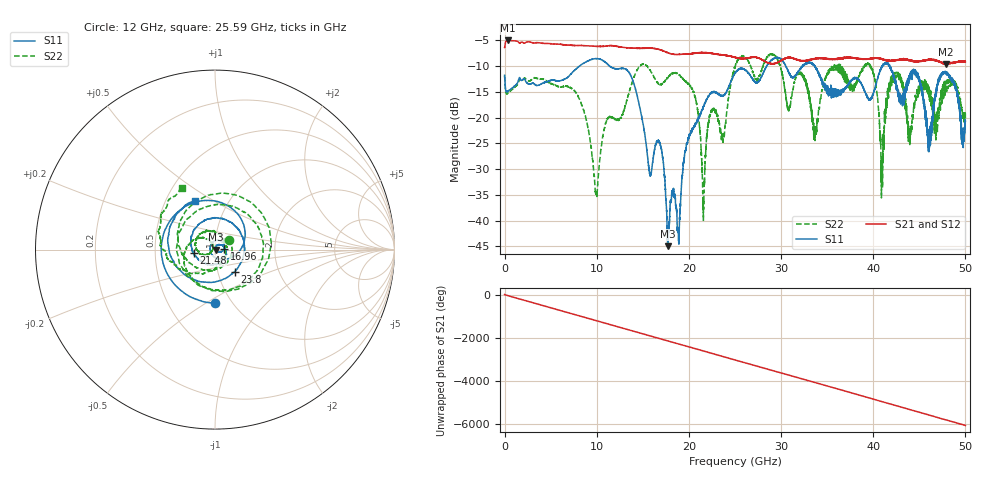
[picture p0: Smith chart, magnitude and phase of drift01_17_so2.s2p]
!Created with skrf (http://scikit-rf.org).
# Hz S RI R 50.0
!freq ReS11 ImS11 ReS21 ImS21 ReS12 ImS12 ReS22 ImS22
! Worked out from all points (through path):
!   10001 points, 300 kHz to 50 GHz, reference 50 ohm
!   highest |S21| = -5.05 dB at 325.3 MHz (marker M1); lowest = -9.7 dB at 47.85 GHz (marker M2)
!   group delay of S21, straight-line fit = 336 ps
!   lowest |S11| = -45.0 dB at 17.69 GHz (marker M3), VSWR 1.01, Z = 50.6 - j0.11 ohm
!   |S11| at or under -10 dB: start of sweep to 8.151 GHz; 11.38 GHz to 28.44 GHz (17.06 GHz wide, 85.7 % of centre); 41.8 GHz to end of sweep (the widest 3 of 13)
!   |S22| runs from -40.0 to -7.6 dB; largest |S21 - S12| = 0.013
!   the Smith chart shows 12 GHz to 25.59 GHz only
!   S11 on the Smith chart (normalised r, x): 12 GHz: 0.84, -0.55; 16.96 GHz: 1.11, +0.01; 21.48 GHz: 0.79, -0.03; 23.8 GHz: 1.20, -0.30; 25.59 GHz: 0.70, +0.42
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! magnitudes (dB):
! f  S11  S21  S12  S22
! 300 kHz  -11.8  -6.4  -6.5  -11.8
! 325.3 MHz  -15.0  -5.1  -5.1  -15.4
! 8.335 GHz  -9.7  -6.0  -6.0  -17.4
! 9.935 GHz  -8.6  -6.2  -6.2  -34.4
! 12 GHz  -10.5  -6.1  -6.1  -20.5
! 15.77 GHz  -31.0  -6.5  -6.6  -10.8
! 16.67 GHz  -24.5  -6.8  -6.8  -13.4
! 16.96 GHz  -25.8  -6.9  -6.9  -13.5
! 17.69 GHz  -45.0  -7.4  -7.4  -12.3
! 20.5 GHz  -21.9  -7.6  -7.6  -15.1
! 21.48 GHz  -18.4  -7.4  -7.4  -32.5
! 22.46 GHz  -15.2  -7.6  -7.6  -18.8
! 23.8 GHz  -15.7  -7.9  -7.9  -23.4
! 25 GHz  -11.4  -8.4  -8.4  -10.2
! 25.59 GHz  -10.6  -8.6  -8.6  -8.2
! 33.34 GHz  -9.5  -8.7  -8.7  -19.6
! 39.49 GHz  -16.5  -8.6  -8.6  -9.9
! 40.95 GHz  -10.1  -8.6  -8.6  -27.6
! 41.67 GHz  -9.8  -8.9  -9.0  -15.2
! 46.1 GHz  -25.5  -8.8  -8.8  -15.6
! 47.85 GHz  -11.5  -9.7  -9.6  -13.4
! 50 GHz  -20.7  -9.2  -9.2  -20.2
